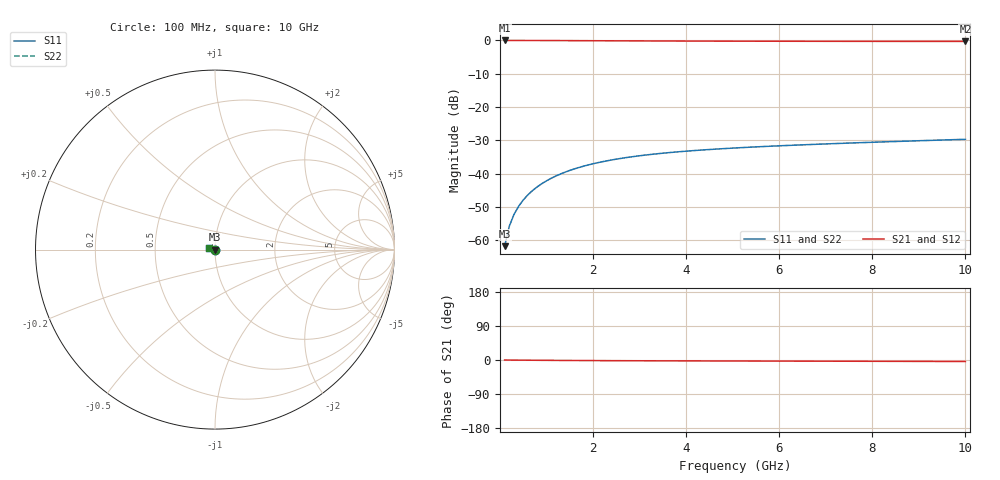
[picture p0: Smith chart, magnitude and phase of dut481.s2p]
! Touchstone file exported from HFSS 2024.1.0
!  File:  C:/UserFiles/LocalFiles/RDL_TSV_Batchsim/temp_TSV1_481_1779699433.aedt
!  Generated:  05:02:36 PM May 25, 2026
!  Design:  TSV1
!  Project:  temp_TSV1_481_1779699433
!  Setup:  Setup1
!  Solution:  Sweep
! Variables:
!  dtsv = 9.66um
!  hbump = 3um
!  htsv = 56.72um
!  lrdl = 252.1521522um
!  p = 40
!  p1 = 56.65um
!  t = 500um
!  trdl = 3um
!  wrdl = 24.89489489um
# GHz S MA R 50.000000
! Terminal data exported
! Port[1] = TSV22_T1
! Port[2] = TSV22_T2
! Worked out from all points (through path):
!   100 points, 100 MHz to 10 GHz, reference 50 ohm
!   highest |S21| = 0.00 dB at 100 MHz (marker M1); lowest = -0.3 dB at 10 GHz (marker M2)
!   lowest |S11| = -61.8 dB at 100 MHz (marker M3), VSWR 1.00, Z = 50 - j0.0805 ohm
!   |S11| at or under -10 dB: start of sweep to end of sweep
!   |S22| runs from -61.8 to -29.7 dB; largest |S21 - S12| = 4.4e-15
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0.1  0.0008109 -83.2  0.9998 -0.1  0.9998 -0.1  0.0008109 -83.2
! Gamma 0 0 0 0
! Port Impedance 50 0 50 0
0.2  0.001612 -89.6  0.9997 -0.2  0.9997 -0.2  0.001612 -89.6
0.3  0.002415 -93.2  0.9996 -0.3  0.9996 -0.3  0.002415 -93.2
0.4  0.003213 -96.2  0.9993 -0.4  0.9993 -0.4  0.003213 -96.2
0.5  0.004004 -98.8  0.9991 -0.5  0.9991 -0.5  0.004004 -98.8
0.6  0.004784 -101.2  0.9987 -0.6  0.9987 -0.6  0.004784 -101.2
0.7  0.005553 -103.6  0.9984 -0.6  0.9984 -0.6  0.005553 -103.6
0.8  0.006309 -105.8  0.9979 -0.7  0.9979 -0.7  0.006309 -105.8
0.9  0.00705 -108.0  0.9975 -0.8  0.9975 -0.8  0.00705 -108.0
1.1  0.008485 -112.3  0.9964 -1.0  0.9964 -1.0  0.008485 -112.3
1.4  0.0105 -118.3  0.9946 -1.2  0.9946 -1.2  0.0105 -118.3
1.6  0.01176 -122.1  0.9933 -1.3  0.9933 -1.3  0.01176 -122.1
1.8  0.01293 -125.8  0.992 -1.4  0.992 -1.4  0.01293 -125.8
2.1  0.01455 -131.0  0.99 -1.6  0.99 -1.6  0.01455 -131.0
2.5  0.01646 -137.4  0.9874 -1.8  0.9874 -1.8  0.01646 -137.4
2.9  0.01812 -143.3  0.985 -2.0  0.985 -2.0  0.01812 -143.3
3.4  0.0199 -150.0  0.9822 -2.2  0.9822 -2.2  0.0199 -150.0
4.2  0.02223 -159.3  0.9785 -2.4  0.9785 -2.4  0.02223 -159.3
5.1  0.02433 -168.2  0.9753 -2.7  0.9753 -2.7  0.02433 -168.2
6.7  0.02736 179.0  0.9714 -3.1  0.9714 -3.1  0.02736 179.0
8.4  0.03017 168.1  0.9687 -3.5  0.9687 -3.5  0.03017 168.1
10  0.0327 159.7  0.967 -3.9  0.967 -3.9  0.0327 159.7
